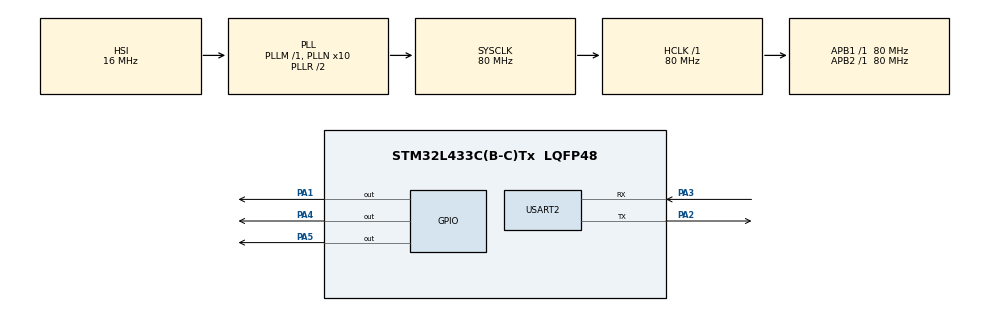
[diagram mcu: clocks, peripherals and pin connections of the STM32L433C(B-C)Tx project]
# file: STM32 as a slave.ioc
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Mcu.Family=STM32L4
Mcu.Name=STM32L433C(B-C)Tx
Mcu.Package=LQFP48
NVIC.PriorityGroup=NVIC_PRIORITYGROUP_4
NVIC.USART2_IRQn=true\:0\:0\:false\:false\:true\:true\:true\:true
PA1.Signal=GPIO_Output
PA13\ (JTMS-SWDIO).Mode=Serial_Wire
PA13\ (JTMS-SWDIO).Signal=SYS_JTMS-SWDIO
PA14\ (JTCK-SWCLK).Mode=Serial_Wire
PA14\ (JTCK-SWCLK).Signal=SYS_JTCK-SWCLK
PA2.Mode=Asynchronous
PA2.Signal=USART2_TX
PA3.Mode=Asynchronous
PA3.Signal=USART2_RX
PA4.Signal=GPIO_Output
PA5.Signal=GPIO_Output
PH0-OSC_IN\ (PH0).Mode=HSE-External-Oscillator
PH0-OSC_IN\ (PH0).Signal=RCC_OSC_IN
PH1-OSC_OUT\ (PH1).Mode=HSE-External-Oscillator
PH1-OSC_OUT\ (PH1).Signal=RCC_OSC_OUT
ProjectManager.HeapSize=0x200
ProjectManager.StackSize=0x400
ProjectManager.TargetToolchain=STM32CubeIDE
RCC.ADCFreq_Value=64000000
RCC.AHBFreq_Value=80000000
RCC.APB1Freq_Value=80000000
RCC.APB1TimFreq_Value=80000000
RCC.APB2Freq_Value=80000000
RCC.APB2TimFreq_Value=80000000
RCC.CortexFreq_Value=80000000
RCC.HCLKFreq_Value=80000000
RCC.HSE_VALUE=8000000
RCC.HSI48_VALUE=48000000
RCC.HSI_VALUE=16000000
RCC.LSE_VALUE=32768
RCC.MSI_VALUE=4000000
RCC.PLLN=10
RCC.PLLSourceVirtual=RCC_PLLSOURCE_HSI
RCC.SYSCLKFreq_VALUE=80000000
RCC.SYSCLKSource=RCC_SYSCLKSOURCE_PLLCLK
RCC.USBFreq_Value=64000000
RCC.VCOOutputFreq_Value=160000000
USART2.VirtualMode-Asynchronous=VM_ASYNC
board=custom

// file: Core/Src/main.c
/* USER CODE BEGIN Header */
/**
  ******************************************************************************
  * @file           : main.c
  * @brief          : Main program body
  ******************************************************************************
  * @attention
  *
  * Copyright (c) 2022 STMicroelectronics.
  * All rights reserved.
  *
  * This software is licensed under terms that can be found in the LICENSE file
  * in the root directory of this software component.
  * If no LICENSE file comes with this software, it is provided AS-IS.
  *
  ******************************************************************************
  */
/* USER CODE END Header */
#include "main.h"

/* USER CODE BEGIN Includes */
#include "modbusSlave.h"
#include<stdio.h>
/* USER CODE END Includes */

UART_HandleTypeDef huart2;

void SystemClock_Config(void);
static void MX_GPIO_Init(void);
static void MX_USART2_UART_Init(void);

/* USER CODE BEGIN 0 */

int _write(int file, char *ptr, int len)
{
  int i=0;
  for(i=0 ; i<len ;i++)
	  ITM_SendChar((*ptr++));
  return len;
}

uint8_t RxData[256];
uint8_t TxData[256];

//void HAL_UART_RxCpltCallback(UART_HandleTypeDef *huart, uint16_t Size)
void HAL_UARTEx_RxEventCallback(UART_HandleTypeDef *huart, uint16_t Size)
{
	if (RxData[0] == SLAVE_ID)
	{
		for(int i=0; i<= 50; i++)
		{
			printf("i=%d",RxData[i]);
		}
		printf("\n");
		switch (RxData[1]){
		case 0x03:
			readHoldingRegs();
			break;
		case 0x04:
			readInputRegs();
			break;
		case 0x01:
			readCoils();
			break;
		case 0x02:
			readInputs();
			break;
		case 0x06:
			writeSingleReg();
			break;
		case 0x10:
			writeHoldingRegs();
			break;
		default:
			modbusException(ILLEGAL_FUNCTION);
			break;
		}
	}
	//HAL_UART_Receive_IT(&huart2, RxData, 256);

	HAL_UARTEx_ReceiveToIdle_IT(&huart2, RxData, 256);
}

/* USER CODE END 0 */

int main(void)
{
  /* USER CODE BEGIN 1 */
	// HAL_GPIO_WritePin(GPIOA, GPIO_PIN_4, GPIO_PIN_RESET);
  /* USER CODE END 1 */

  /* MCU Configuration--------------------------------------------------------*/

  /* Reset of all peripherals, Initializes the Flash interface and the Systick. */
  HAL_Init();

  /* Configure the system clock */
  SystemClock_Config();

  /* Initialize all configured peripherals */
  MX_GPIO_Init();
  MX_USART2_UART_Init();
  /* USER CODE BEGIN 2 */

  HAL_UARTEx_ReceiveToIdle_IT(&huart2, RxData, 256);

  /* USER CODE END 2 */

  /* Infinite loop */
   while (1)
  {

  }
}

void SystemClock_Config(void)
{
  RCC_OscInitTypeDef RCC_OscInitStruct = {0};
  RCC_ClkInitTypeDef RCC_ClkInitStruct = {0};

  /** Configure the main internal regulator output voltage
  */
  if (HAL_PWREx_ControlVoltageScaling(PWR_REGULATOR_VOLTAGE_SCALE1) != HAL_OK)
  {
    Error_Handler();
  }

  /** Initializes the RCC Oscillators according to the specified parameters
  * in the RCC_OscInitTypeDef structure.
  */
  RCC_OscInitStruct.OscillatorType = RCC_OSCILLATORTYPE_HSI;
  RCC_OscInitStruct.HSIState = RCC_HSI_ON;
  RCC_OscInitStruct.HSICalibrationValue = RCC_HSICALIBRATION_DEFAULT;
  RCC_OscInitStruct.PLL.PLLState = RCC_PLL_ON;
  RCC_OscInitStruct.PLL.PLLSource = RCC_PLLSOURCE_HSI;
  RCC_OscInitStruct.PLL.PLLM = 1;
  RCC_OscInitStruct.PLL.PLLN = 10;
  RCC_OscInitStruct.PLL.PLLP = RCC_PLLP_DIV7;
  RCC_OscInitStruct.PLL.PLLQ = RCC_PLLQ_DIV2;
  RCC_OscInitStruct.PLL.PLLR = RCC_PLLR_DIV2;
  if (HAL_RCC_OscConfig(&RCC_OscInitStruct) != HAL_OK)
  {
    Error_Handler();
  }

  /** Initializes the CPU, AHB and APB buses clocks
  */
  RCC_ClkInitStruct.ClockType = RCC_CLOCKTYPE_HCLK|RCC_CLOCKTYPE_SYSCLK
                              |RCC_CLOCKTYPE_PCLK1|RCC_CLOCKTYPE_PCLK2;
  RCC_ClkInitStruct.SYSCLKSource = RCC_SYSCLKSOURCE_PLLCLK;
  RCC_ClkInitStruct.AHBCLKDivider = RCC_SYSCLK_DIV1;
  RCC_ClkInitStruct.APB1CLKDivider = RCC_HCLK_DIV1;
  RCC_ClkInitStruct.APB2CLKDivider = RCC_HCLK_DIV1;

  if (HAL_RCC_ClockConfig(&RCC_ClkInitStruct, FLASH_LATENCY_4) != HAL_OK)
  {
    Error_Handler();
  }
}

static void MX_USART2_UART_Init(void)
{

  huart2.Instance = USART2;
  huart2.Init.BaudRate = 115200;
  huart2.Init.WordLength = UART_WORDLENGTH_8B;
  huart2.Init.StopBits = UART_STOPBITS_1;
  huart2.Init.Parity = UART_PARITY_NONE;
  huart2.Init.Mode = UART_MODE_TX_RX;
  huart2.Init.HwFlowCtl = UART_HWCONTROL_NONE;
  huart2.Init.OverSampling = UART_OVERSAMPLING_16;
  huart2.Init.OneBitSampling = UART_ONE_BIT_SAMPLE_DISABLE;
  huart2.AdvancedInit.AdvFeatureInit = UART_ADVFEATURE_NO_INIT;
  if (HAL_UART_Init(&huart2) != HAL_OK)
  {
    Error_Handler();
  }

}

static void MX_GPIO_Init(void)
{
  GPIO_InitTypeDef GPIO_InitStruct = {0};

  /* GPIO Ports Clock Enable */
  __HAL_RCC_GPIOH_CLK_ENABLE();
  __HAL_RCC_GPIOA_CLK_ENABLE();

  /*Configure GPIO pin Output Level */
  HAL_GPIO_WritePin(GPIOA, GPIO_PIN_1|GPIO_PIN_4|GPIO_PIN_5, GPIO_PIN_RESET);

  /*Configure GPIO pins : PA1 PA4 PA5 */
  GPIO_InitStruct.Pin = GPIO_PIN_1|GPIO_PIN_4|GPIO_PIN_5;
  GPIO_InitStruct.Mode = GPIO_MODE_OUTPUT_PP;
  GPIO_InitStruct.Pull = GPIO_NOPULL;
  GPIO_InitStruct.Speed = GPIO_SPEED_FREQ_LOW;
  HAL_GPIO_Init(GPIOA, &GPIO_InitStruct);

}

void Error_Handler(void)
{
  __disable_irq();
  while (1)
  {
  }
}
